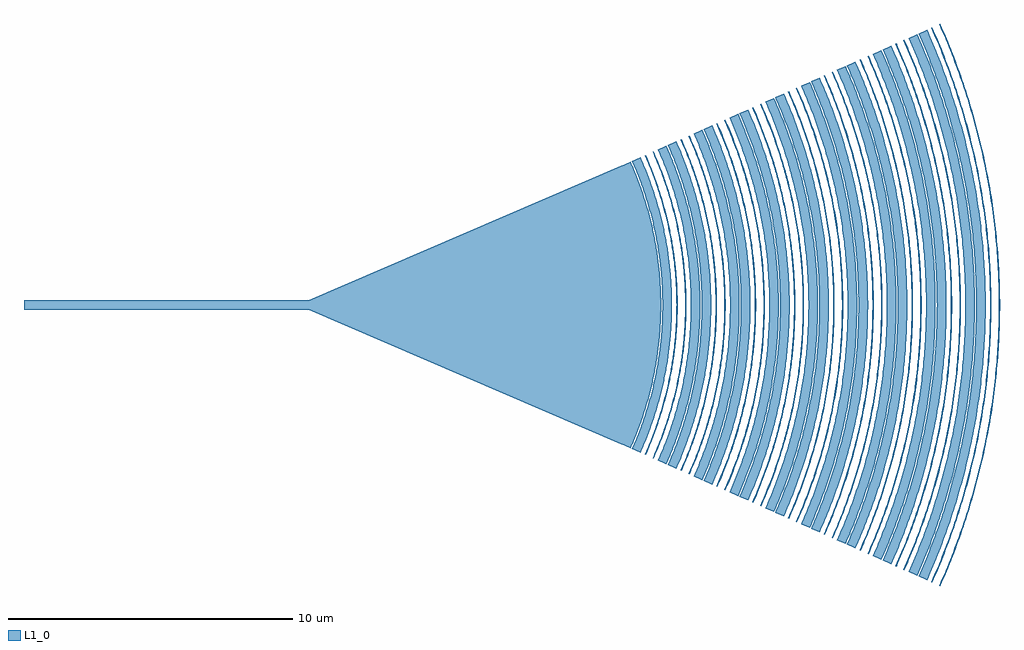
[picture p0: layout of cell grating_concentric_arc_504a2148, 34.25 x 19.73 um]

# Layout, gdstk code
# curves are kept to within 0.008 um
import gdstk
lib = gdstk.Library(unit=1e-6, precision=2e-09)
def R(c, l, rs):  # rectangles x0, y0, x1, y1
    for r in rs: c.add(gdstk.rectangle(r[:2], r[2:], *l))
def P(c, l, *ps):  # polygons
    for p in ps: c.add(gdstk.Polygon(p, *l))
L1_0 = (1, 0)

straight_3aa2beef = lib.new_cell('straight_3aa2beef')
R(straight_3aa2beef, L1_0, [(0,-0.174,10,0.174)])

ring_6953cfcb_transform_ = lib.new_cell('ring_6953cfcb_transform_6221d9ea')
P(ring_6953cfcb_transform_, L1_0, [(10.05,-4.474),(10.27,-3.942),(10.462,-3.4),(10.626,-2.848),(10.76,-2.288),(10.844,-1.848),(10.926,-1.278),(10.974,-0.768),(11,-0.128),(10.982,0.64),(10.94,1.15),(10.844,1.848),(10.76,2.288),(10.626,2.848),(10.462,3.4),(10.27,3.942),(10.05,4.474),(11.288,5.026),(11.484,4.562),(11.636,4.158),(11.878,3.406),(12.056,2.71),(12.13,2.358),(12.226,1.79),(12.316,1.006),(12.356,0.144),(12.336,-0.718),(12.31,-1.076),(12.246,-1.648),(12.116,-2.428),(12.024,-2.85),(11.898,-3.336),(11.636,-4.158),(11.484,-4.562),(11.288,-5.026)])

ring_9422eaae_transform_ = lib.new_cell('ring_9422eaae_transform_814ac0fe')
P(ring_9422eaae_transform_, L1_0, [(11.336,-5.046),(11.532,-4.582),(11.756,-3.972),(11.908,-3.49),(12.074,-2.862),(12.194,-2.296),(12.298,-1.656),(12.368,-1.01),(12.398,-0.506),(12.408,0.144),(12.368,1.01),(12.298,1.656),(12.194,2.296),(12.04,3.002),(11.824,3.766),(11.636,4.312),(11.336,5.046),(11.636,5.182),(11.866,4.634),(11.996,4.288),(12.16,3.796),(12.378,3.01),(12.518,2.358),(12.644,1.552),(12.708,0.888),(12.738,0.148),(12.728,-0.518),(12.684,-1.184),(12.644,-1.552),(12.558,-2.138),(12.412,-2.866),(12.204,-3.654),(11.996,-4.288),(11.838,-4.704),(11.636,-5.182)])

ring_9049fbea_transform_ = lib.new_cell('ring_9049fbea_transform_e01216b0')
P(ring_9049fbea_transform_, L1_0, [(11.782,-5.246),(11.93,-4.9),(12.068,-4.552),(12.266,-3.986),(12.356,-3.698),(12.458,-3.338),(12.55,-2.974),(12.616,-2.682),(12.702,-2.24),(12.75,-1.944),(12.792,-1.646),(12.842,-1.198),(12.884,-0.6),(12.898,0),(12.884,0.6),(12.842,1.198),(12.792,1.646),(12.75,1.944),(12.702,2.24),(12.616,2.682),(12.55,2.974),(12.458,3.338),(12.312,3.842),(12.17,4.27),(12.068,4.552),(11.93,4.9),(11.782,5.246),(11.818,5.262),(11.996,4.846),(12.132,4.496),(12.328,3.926),(12.416,3.638),(12.516,3.276),(12.606,2.91),(12.67,2.616),(12.728,2.32),(12.79,1.95),(12.832,1.652),(12.882,1.202),(12.924,0.602),(12.936,0.226),(12.938,-0.076),(12.93,-0.452),(12.916,-0.752),(12.882,-1.202),(12.85,-1.502),(12.812,-1.8),(12.754,-2.172),(12.7,-2.468),(12.606,-2.91),(12.516,-3.276),(12.416,-3.638),(12.328,-3.926),(12.208,-4.284),(12.024,-4.776),(11.85,-5.194),(11.818,-5.262)])

ring_10f3b8c3_transform_ = lib.new_cell('ring_10f3b8c3_transform_cc2e47a6')
P(ring_10f3b8c3_transform_, L1_0, [(12.062,-5.37),(12.184,-5.088),(12.298,-4.804),(12.508,-4.226),(12.604,-3.934),(12.692,-3.64),(12.754,-3.418),(12.882,-2.896),(12.946,-2.594),(13.016,-2.216),(13.064,-1.914),(13.114,-1.532),(13.16,-1.074),(13.176,-0.844),(13.198,-0.384),(13.202,-0.154),(13.2,0.308),(13.192,0.538),(13.166,0.998),(13.146,1.228),(13.114,1.532),(13.064,1.914),(13.016,2.216),(12.946,2.594),(12.848,3.044),(12.754,3.418),(12.604,3.934),(12.484,4.298),(12.354,4.66),(12.184,5.088),(12.062,5.37),(12.098,5.386),(12.25,5.032),(12.364,4.746),(12.522,4.312),(12.642,3.946),(12.812,3.354),(12.954,2.754),(13.068,2.148),(13.154,1.538),(13.2,1.078),(13.216,0.846),(13.238,0.386),(13.244,0),(13.238,-0.386),(13.216,-0.846),(13.2,-1.078),(13.154,-1.538),(13.068,-2.148),(13,-2.526),(12.938,-2.828),(12.85,-3.204),(12.752,-3.576),(12.642,-3.946),(12.522,-4.312),(12.308,-4.89),(12.13,-5.316),(12.098,-5.386)])

ring_108499d5_transform_ = lib.new_cell('ring_108499d5_transform_c5bb48a8')
P(ring_108499d5_transform_, L1_0, [(12.244,-5.452),(12.484,-4.876),(12.722,-4.216),(12.904,-3.62),(13.076,-2.938),(13.212,-2.25),(13.302,-1.634),(13.358,-1.09),(13.394,-0.468),(13.402,0.156),(13.388,0.624),(13.358,1.09),(13.272,1.866),(13.156,2.558),(12.966,3.394),(12.794,3.992),(12.54,4.73),(12.244,5.452),(12.544,5.586),(12.82,4.922),(13.108,4.092),(13.344,3.244),(13.48,2.62),(13.61,1.832),(13.68,1.196),(13.724,0.48),(13.724,-0.48),(13.68,-1.196),(13.576,-2.07),(13.51,-2.464),(13.398,-3.012),(13.156,-3.938),(12.876,-4.772),(12.544,-5.586)])

ring_e48c460f_transform_ = lib.new_cell('ring_e48c460f_transform_258c2d6b')
P(ring_e48c460f_transform_, L1_0, [(12.592,-5.606),(12.81,-5.09),(13.034,-4.488),(13.228,-3.876),(13.394,-3.256),(13.546,-2.552),(13.672,-1.76),(13.732,-1.202),(13.776,-0.482),(13.776,0.482),(13.732,1.202),(13.65,1.918),(13.516,2.708),(13.314,3.568),(13.11,4.26),(12.898,4.864),(12.592,5.606),(12.894,5.74),(13.206,4.982),(13.474,4.206),(13.634,3.652),(13.734,3.254),(13.886,2.532),(13.998,1.802),(14.046,1.394),(14.086,0.902),(14.114,0.164),(14.106,-0.492),(14.046,-1.394),(13.928,-2.288),(13.734,-3.254),(13.522,-4.048),(13.346,-4.596),(13.206,-4.982),(12.894,-5.74)])

ring_d2db16e5_transform_ = lib.new_cell('ring_d2db16e5_transform_b4624d32')
P(ring_d2db16e5_transform_, L1_0, [(13.038,-5.806),(13.234,-5.346),(13.384,-4.96),(13.6,-4.332),(13.674,-4.094),(13.808,-3.614),(13.962,-2.968),(14.042,-2.56),(14.098,-2.232),(14.146,-1.904),(14.186,-1.574),(14.212,-1.326),(14.244,-0.912),(14.262,-0.582),(14.272,-0.166),(14.27,0.332),(14.262,0.582),(14.244,0.912),(14.204,1.41),(14.146,1.904),(14.098,2.232),(14.042,2.56),(13.962,2.968),(13.808,3.614),(13.65,4.174),(13.496,4.646),(13.384,4.96),(13.234,5.346),(13.038,5.806),(13.076,5.822),(13.24,5.438),(13.422,4.974),(13.534,4.66),(13.664,4.264),(13.782,3.866),(13.868,3.544),(14.018,2.894),(14.096,2.486),(14.15,2.156),(14.186,1.91),(14.244,1.414),(14.294,0.75),(14.308,0.416),(14.314,0),(14.308,-0.416),(14.294,-0.75),(14.244,-1.414),(14.186,-1.91),(14.124,-2.322),(14.066,-2.65),(13.982,-3.058),(13.868,-3.544),(13.782,-3.866),(13.664,-4.264),(13.534,-4.66),(13.422,-4.974),(13.302,-5.284),(13.11,-5.746),(13.076,-5.822)])

ring_d92fad2c_transform_ = lib.new_cell('ring_d92fad2c_transform_edd6bd95')
P(ring_d92fad2c_transform_, L1_0, [(13.318,-5.93),(13.486,-5.54),(13.58,-5.304),(13.7,-4.986),(13.866,-4.506),(14.038,-3.936),(14.206,-3.28),(14.278,-2.948),(14.358,-2.532),(14.46,-1.86),(14.508,-1.44),(14.538,-1.102),(14.57,-0.508),(14.578,-0.17),(14.578,0.17),(14.57,0.508),(14.544,1.016),(14.508,1.44),(14.46,1.86),(14.4,2.28),(14.278,2.948),(14.206,3.28),(14.104,3.692),(13.942,4.262),(13.866,4.506),(13.7,4.986),(13.518,5.462),(13.318,5.93),(13.354,5.946),(13.49,5.634),(13.618,5.318),(13.738,5),(13.904,4.518),(14.076,3.948),(14.164,3.62),(14.3,3.04),(14.426,2.37),(14.5,1.866),(14.548,1.444),(14.578,1.104),(14.604,0.68),(14.618,0.17),(14.618,-0.17),(14.604,-0.68),(14.584,-1.02),(14.548,-1.444),(14.52,-1.698),(14.412,-2.454),(14.334,-2.872),(14.264,-3.206),(14.164,-3.62),(14.076,-3.948),(13.93,-4.436),(13.822,-4.76),(13.618,-5.318),(13.424,-5.79),(13.354,-5.946)])

ring_c6a823f2_transform_ = lib.new_cell('ring_c6a823f2_transform_b9f9d562')
P(ring_c6a823f2_transform_, L1_0, [(13.5,-6.01),(13.766,-5.376),(14.028,-4.648),(14.206,-4.074),(14.4,-3.324),(14.554,-2.566),(14.646,-1.972),(14.722,-1.288),(14.772,-0.43),(14.772,0.43),(14.722,1.288),(14.61,2.226),(14.49,2.904),(14.296,3.742),(14.182,4.156),(14.028,4.648),(13.766,5.376),(13.5,6.01),(13.802,6.144),(14.136,5.332),(14.396,4.584),(14.616,3.826),(14.814,2.968),(14.936,2.276),(14.996,1.842),(15.058,1.23),(15.102,0.44),(15.102,-0.44),(15.088,-0.79),(15.034,-1.492),(14.922,-2.364),(14.76,-3.226),(14.616,-3.826),(14.474,-4.332),(14.314,-4.836),(14.136,-5.332),(13.802,-6.144)])

ring_ff4eb2f2_transform_ = lib.new_cell('ring_ff4eb2f2_transform_92466b3c')
P(ring_ff4eb2f2_transform_, L1_0, [(13.85,-6.166),(14.122,-5.516),(14.334,-4.936),(14.524,-4.348),(14.772,-3.41),(14.93,-2.632),(15.036,-1.936),(15.11,-1.234),(15.154,-0.44),(15.154,0.44),(15.11,1.234),(15,2.198),(14.882,2.892),(14.71,3.668),(14.472,4.516),(14.216,5.268),(13.85,6.166),(14.15,6.3),(14.462,5.552),(14.76,4.7),(14.986,3.922),(15.206,2.956),(15.364,1.978),(15.446,1.17),(15.484,0.45),(15.484,-0.45),(15.464,-0.9),(15.406,-1.62),(15.314,-2.334),(15.152,-3.22),(15.052,-3.66),(14.89,-4.27),(14.76,-4.7),(14.556,-5.298),(14.294,-5.97),(14.15,-6.3)])

ring_7f2c7f43_transform_ = lib.new_cell('ring_7f2c7f43_transform_a85783c4')
P(ring_7f2c7f43_transform_, L1_0, [(14.296,-6.364),(14.544,-5.778),(14.706,-5.352),(14.826,-5.008),(14.966,-4.576),(15.068,-4.226),(15.206,-3.698),(15.288,-3.342),(15.362,-2.986),(15.442,-2.538),(15.484,-2.268),(15.554,-1.726),(15.59,-1.364),(15.628,-0.818),(15.648,-0.182),(15.648,0.182),(15.64,0.546),(15.628,0.818),(15.582,1.454),(15.554,1.726),(15.484,2.268),(15.412,2.718),(15.344,3.076),(15.248,3.52),(15.162,3.874),(15.068,4.226),(14.966,4.576),(14.826,5.008),(14.674,5.438),(14.51,5.862),(14.296,6.364),(14.332,6.382),(14.478,6.046),(14.68,5.538),(14.922,4.848),(15.082,4.324),(15.178,3.972),(15.266,3.618),(15.346,3.262),(15.418,2.904),(15.524,2.274),(15.612,1.55),(15.668,0.822),(15.688,0.182),(15.688,-0.182),(15.668,-0.822),(15.63,-1.368),(15.594,-1.73),(15.524,-2.274),(15.482,-2.544),(15.418,-2.904),(15.308,-3.44),(15.178,-3.972),(15.082,-4.324),(14.864,-5.022),(14.68,-5.538),(14.478,-6.046),(14.332,-6.382)])

ring_7084ca4e_transform_ = lib.new_cell('ring_7084ca4e_transform_089f98cb')
P(ring_7084ca4e_transform_, L1_0, [(14.576,-6.49),(14.862,-5.804),(15.024,-5.37),(15.174,-4.93),(15.284,-4.576),(15.41,-4.13),(15.524,-3.68),(15.606,-3.318),(15.662,-3.044),(15.744,-2.588),(15.8,-2.22),(15.858,-1.76),(15.902,-1.298),(15.928,-0.928),(15.942,-0.65),(15.954,-0.186),(15.954,0.186),(15.942,0.65),(15.916,1.112),(15.886,1.482),(15.858,1.76),(15.8,2.22),(15.744,2.588),(15.644,3.136),(15.546,3.588),(15.458,3.95),(15.362,4.308),(15.258,4.664),(15.086,5.194),(14.928,5.63),(14.758,6.062),(14.576,6.49),(14.612,6.506),(14.76,6.164),(14.966,5.646),(15.124,5.208),(15.212,4.942),(15.35,4.498),(15.426,4.23),(15.542,3.78),(15.646,3.326),(15.736,2.87),(15.798,2.502),(15.84,2.226),(15.908,1.672),(15.942,1.302),(15.978,0.744),(15.994,0.186),(15.994,-0.186),(15.982,-0.652),(15.968,-0.93),(15.942,-1.302),(15.898,-1.764),(15.84,-2.226),(15.768,-2.686),(15.736,-2.87),(15.606,-3.508),(15.52,-3.87),(15.376,-4.408),(15.268,-4.766),(15.124,-5.208),(14.966,-5.646),(14.724,-6.25),(14.612,-6.506)])

ring_89918972_transform_ = lib.new_cell('ring_89918972_transform_edba0638')
P(ring_89918972_transform_, L1_0, [(14.758,-6.57),(15.114,-5.702),(15.334,-5.082),(15.554,-4.362),(15.74,-3.634),(15.892,-2.898),(16.034,-1.968),(16.108,-1.22),(16.15,-0.376),(16.144,0.564),(16.084,1.502),(15.984,2.342),(15.82,3.266),(15.628,4.09),(15.392,4.902),(15.148,5.614),(14.978,6.052),(14.758,6.57),(15.058,6.704),(15.388,5.908),(15.554,5.458),(15.736,4.91),(15.946,4.174),(16.144,3.334),(16.296,2.484),(16.404,1.628),(16.444,1.15),(16.474,0.576),(16.48,-0.384),(16.462,-0.862),(16.404,-1.628),(16.296,-2.484),(16.124,-3.428),(15.872,-4.452),(15.736,-4.91),(15.49,-5.638),(15.248,-6.264),(15.058,-6.704)])

ring_e80e56b2_transform_ = lib.new_cell('ring_e80e56b2_transform_6378aeb5')
P(ring_e80e56b2_transform_, L1_0, [(15.106,-6.726),(15.438,-5.926),(15.696,-5.202),(15.922,-4.466),(16.134,-3.626),(16.284,-2.872),(16.424,-1.92),(16.496,-1.154),(16.532,-0.384),(16.526,0.578),(16.464,1.536),(16.362,2.396),(16.214,3.25),(16.022,4.094),(15.756,5.018),(15.438,5.926),(15.106,6.726),(15.408,6.86),(15.746,6.044),(16.01,5.306),(16.292,4.366),(16.518,3.41),(16.674,2.542),(16.752,1.958),(16.802,1.47),(16.856,0.588),(16.862,-0.392),(16.838,-0.98),(16.802,-1.47),(16.752,-1.958),(16.674,-2.542),(16.498,-3.506),(16.412,-3.89),(16.24,-4.554),(16.1,-5.024),(15.882,-5.676),(15.638,-6.318),(15.408,-6.86)])

ring_321dfc1c_transform_ = lib.new_cell('ring_321dfc1c_transform_615f536a')
P(ring_321dfc1c_transform_, L1_0, [(15.552,-6.924),(15.748,-6.47),(15.894,-6.102),(16.032,-5.73),(16.192,-5.26),(16.392,-4.598),(16.566,-3.926),(16.632,-3.636),(16.712,-3.248),(16.8,-2.762),(16.91,-1.976),(16.942,-1.682),(16.984,-1.188),(17.002,-0.892),(17.024,-0.198),(17.018,0.496),(17.002,0.892),(16.96,1.484),(16.886,2.174),(16.816,2.664),(16.712,3.248),(16.566,3.926),(16.47,4.31),(16.31,4.882),(16.13,5.448),(15.93,6.008),(15.748,6.47),(15.552,6.924),(15.59,6.94),(15.67,6.76),(15.932,6.116),(16.07,5.744),(16.23,5.274),(16.32,4.99),(16.484,4.416),(16.582,4.032),(16.692,3.548),(16.806,2.964),(16.87,2.572),(16.926,2.178),(16.982,1.684),(17.024,1.19),(17.042,0.894),(17.06,0.398),(17.064,-0.198),(17.042,-0.894),(17.024,-1.19),(16.982,-1.684),(16.95,-1.982),(16.87,-2.572),(16.806,-2.964),(16.752,-3.256),(16.65,-3.742),(16.534,-4.224),(16.404,-4.704),(16.32,-4.99),(16.136,-5.556),(15.932,-6.116),(15.67,-6.76),(15.59,-6.94)])

ring_e9e801ea_transform_ = lib.new_cell('ring_e9e801ea_transform_d64e931f')
P(ring_e9e801ea_transform_, L1_0, [(15.832,-7.048),(16.03,-6.586),(16.216,-6.116),(16.354,-5.738),(16.514,-5.26),(16.66,-4.776),(16.766,-4.388),(16.864,-3.996),(16.952,-3.604),(17.05,-3.108),(17.118,-2.712),(17.214,-2.012),(17.256,-1.61),(17.302,-1.008),(17.324,-0.504),(17.33,-0.202),(17.33,0.202),(17.312,0.806),(17.302,1.008),(17.256,1.61),(17.214,2.012),(17.148,2.512),(17.068,3.01),(16.992,3.406),(16.952,3.604),(16.816,4.192),(16.66,4.776),(16.544,5.164),(16.354,5.738),(16.216,6.116),(16.03,6.586),(15.832,7.048),(15.868,7.066),(16.068,6.6),(16.216,6.226),(16.358,5.846),(16.552,5.272),(16.67,4.886),(16.83,4.3),(16.926,3.908),(17.012,3.512),(17.124,2.916),(17.188,2.518),(17.254,2.016),(17.296,1.614),(17.328,1.212),(17.352,0.808),(17.37,0.202),(17.37,-0.202),(17.364,-0.506),(17.342,-1.01),(17.296,-1.614),(17.254,-2.016),(17.188,-2.518),(17.124,-2.916),(17.052,-3.314),(16.926,-3.908),(16.83,-4.3),(16.67,-4.886),(16.552,-5.272),(16.358,-5.846),(16.144,-6.414),(15.91,-6.972),(15.868,-7.066)])

ring_fa41a8f5_transform_ = lib.new_cell('ring_fa41a8f5_transform_02f88ba3')
P(ring_fa41a8f5_transform_, L1_0, [(16.014,-7.13),(16.366,-6.282),(16.608,-5.61),(16.906,-4.636),(17.08,-3.944),(17.264,-3.044),(17.386,-2.238),(17.472,-1.426),(17.522,-0.51),(17.522,0.51),(17.472,1.426),(17.386,2.238),(17.298,2.842),(17.208,3.344),(17.034,4.142),(16.906,4.636),(16.734,5.222),(16.438,6.092),(16.254,6.566),(16.014,7.13),(16.316,7.264),(16.674,6.4),(17.018,5.42),(17.304,4.422),(17.512,3.51),(17.686,2.486),(17.792,1.556),(17.852,0.52),(17.852,-0.52),(17.792,-1.556),(17.714,-2.28),(17.656,-2.692),(17.47,-3.714),(17.224,-4.722),(17.018,-5.42),(16.818,-6.01),(16.598,-6.594),(16.316,-7.264)])

ring_5dd9466e_transform_ = lib.new_cell('ring_5dd9466e_transform_71c2ce95')
P(ring_5dd9466e_transform_, L1_0, [(16.364,-7.286),(16.646,-6.614),(16.97,-5.732),(17.218,-4.938),(17.476,-3.928),(17.622,-3.212),(17.766,-2.286),(17.844,-1.562),(17.888,-0.938),(17.904,-0.52),(17.904,0.52),(17.888,0.938),(17.844,1.562),(17.766,2.286),(17.708,2.7),(17.542,3.622),(17.302,4.636),(17.066,5.436),(16.796,6.224),(16.608,6.71),(16.364,7.286),(16.664,7.42),(17.03,6.538),(17.382,5.536),(17.648,4.618),(17.886,3.584),(18.064,2.538),(18.182,1.484),(18.234,0.53),(18.234,-0.53),(18.182,-1.484),(18.106,-2.224),(18.034,-2.748),(17.946,-3.272),(17.798,-4),(17.564,-4.926),(17.382,-5.536),(17.178,-6.14),(16.914,-6.834),(16.664,-7.42)])

ring_66498925_transform_ = lib.new_cell('ring_66498925_transform_d37520c2')
P(ring_66498925_transform_, L1_0, [(16.81,-7.484),(16.98,-7.09),(17.14,-6.694),(17.328,-6.192),(17.5,-5.686),(17.628,-5.278),(17.746,-4.866),(17.88,-4.348),(17.976,-3.93),(18.042,-3.616),(18.14,-3.09),(18.222,-2.56),(18.264,-2.242),(18.3,-1.924),(18.356,-1.284),(18.386,-0.75),(18.4,-0.214),(18.4,0.214),(18.39,0.642),(18.37,1.07),(18.34,1.498),(18.3,1.924),(18.222,2.56),(18.14,3.09),(18.042,3.616),(17.88,4.348),(17.746,4.866),(17.628,5.278),(17.432,5.89),(17.254,6.394),(17.02,6.992),(16.81,7.484),(16.846,7.5),(17.058,7.008),(17.292,6.408),(17.436,6.004),(17.604,5.494),(17.756,4.98),(17.84,4.67),(17.944,4.252),(18.082,3.624),(18.142,3.308),(18.262,2.566),(18.304,2.248),(18.37,1.608),(18.41,1.072),(18.426,0.75),(18.44,0.214),(18.44,-0.214),(18.426,-0.75),(18.396,-1.286),(18.34,-1.928),(18.304,-2.248),(18.214,-2.884),(18.142,-3.308),(18.016,-3.938),(17.918,-4.358),(17.756,-4.98),(17.604,-5.494),(17.436,-6.004),(17.292,-6.408),(17.058,-7.008),(16.846,-7.5)])

ring_fd512b4f_transform_ = lib.new_cell('ring_fd512b4f_transform_8854f068')
P(ring_fd512b4f_transform_, L1_0, [(17.09,-7.608),(17.304,-7.108),(17.464,-6.704),(17.616,-6.296),(17.824,-5.676),(17.952,-5.26),(18.068,-4.842),(18.202,-4.314),(18.298,-3.89),(18.384,-3.462),(18.476,-2.926),(18.54,-2.496),(18.604,-1.956),(18.636,-1.63),(18.68,-0.98),(18.702,-0.436),(18.706,-0.108),(18.702,0.436),(18.686,0.87),(18.668,1.196),(18.626,1.738),(18.54,2.496),(18.44,3.142),(18.342,3.676),(18.202,4.314),(18.124,4.63),(18.012,5.052),(17.856,5.574),(17.688,6.09),(17.464,6.704),(17.304,7.108),(17.09,7.608),(17.126,7.624),(17.34,7.124),(17.502,6.718),(17.726,6.104),(17.896,5.586),(18.02,5.168),(18.136,4.746),(18.242,4.324),(18.36,3.79),(18.462,3.256),(18.516,2.932),(18.594,2.392),(18.666,1.742),(18.708,1.198),(18.726,0.872),(18.744,0.328),(18.746,-0.218),(18.726,-0.872),(18.708,-1.198),(18.676,-1.634),(18.62,-2.176),(18.564,-2.608),(18.462,-3.256),(18.314,-4.004),(18.242,-4.324),(18.08,-4.958),(17.896,-5.586),(17.726,-6.104),(17.502,-6.718),(17.214,-7.426),(17.126,-7.624)])

ring_4e32d0f4_transform_ = lib.new_cell('ring_4e32d0f4_transform_96d36480')
P(ring_4e32d0f4_transform_, L1_0, [(17.27,-7.69),(17.65,-6.776),(17.946,-5.946),(18.112,-5.422),(18.262,-4.894),(18.446,-4.146),(18.656,-3.066),(18.778,-2.194),(18.852,-1.428),(18.898,-0.55),(18.898,0.55),(18.86,1.318),(18.778,2.194),(18.656,3.066),(18.446,4.146),(18.262,4.894),(18.112,5.422),(17.946,5.946),(17.728,6.57),(17.488,7.184),(17.27,7.69),(17.572,7.824),(17.958,6.894),(18.114,6.474),(18.328,5.838),(18.49,5.302),(18.664,4.654),(18.882,3.67),(19.064,2.566),(19.172,1.564),(19.228,0.56),(19.228,-0.56),(19.196,-1.23),(19.142,-1.9),(19.016,-2.898),(18.838,-3.89),(18.58,-4.978),(18.362,-5.73),(18.114,-6.474),(17.918,-6.998),(17.572,-7.824)])

ring_c16440bc_transform_ = lib.new_cell('ring_c16440bc_transform_3e68f9c9')
P(ring_c16440bc_transform_, L1_0, [(17.62,-7.844),(18.046,-6.808),(18.344,-5.96),(18.63,-4.992),(18.794,-4.338),(18.934,-3.68),(19.116,-2.574),(19.224,-1.57),(19.28,-0.56),(19.288,0.112),(19.276,0.674),(19.248,1.234),(19.158,2.24),(19.068,2.906),(18.934,3.68),(18.818,4.23),(18.688,4.774),(18.51,5.424),(18.344,5.96),(18.086,6.702),(17.84,7.33),(17.62,7.844),(17.922,7.98),(18.356,6.924),(18.658,6.062),(18.858,5.408),(18.978,4.968),(19.14,4.302),(19.234,3.856),(19.358,3.182),(19.442,2.618),(19.522,1.938),(19.562,1.482),(19.61,0.57),(19.61,-0.57),(19.578,-1.254),(19.522,-1.938),(19.394,-2.956),(19.212,-3.966),(19.062,-4.636),(18.92,-5.188),(18.658,-6.062),(18.474,-6.602),(18.232,-7.242),(17.922,-7.98)])

ring_cf99d2fc_transform_ = lib.new_cell('ring_cf99d2fc_transform_d0d0eaf5')
P(ring_cf99d2fc_transform_, L1_0, [(18.066,-8.044),(18.38,-7.302),(18.584,-6.764),(18.736,-6.33),(18.844,-6.002),(19.042,-5.34),(19.132,-5.008),(19.296,-4.336),(19.368,-4),(19.496,-3.32),(19.568,-2.866),(19.656,-2.182),(19.702,-1.724),(19.75,-1.036),(19.768,-0.576),(19.776,-0.116),(19.774,0.346),(19.75,1.036),(19.72,1.494),(19.68,1.952),(19.656,2.182),(19.568,2.866),(19.456,3.548),(19.368,4),(19.244,4.56),(19.132,5.008),(19.01,5.452),(18.844,6.002),(18.662,6.548),(18.504,6.98),(18.38,7.302),(18.066,8.044),(18.104,8.06),(18.374,7.424),(18.542,6.994),(18.736,6.452),(18.882,6.014),(18.984,5.684),(19.142,5.128),(19.256,4.682),(19.408,4.008),(19.516,3.442),(19.608,2.872),(19.696,2.186),(19.742,1.728),(19.776,1.268),(19.8,0.806),(19.816,0.23),(19.816,-0.23),(19.8,-0.806),(19.776,-1.268),(19.742,-1.728),(19.696,-2.186),(19.64,-2.644),(19.536,-3.328),(19.452,-3.782),(19.36,-4.232),(19.256,-4.682),(19.112,-5.24),(18.984,-5.684),(18.774,-6.342),(18.542,-6.994),(18.374,-7.424),(18.242,-7.742),(18.104,-8.06)])

ring_c75a938b_transform_ = lib.new_cell('ring_c75a938b_transform_d5d8ba9d')
P(ring_c75a938b_transform_, L1_0, [(18.346,-8.168),(18.532,-7.74),(18.79,-7.088),(18.95,-6.648),(19.1,-6.206),(19.272,-5.648),(19.368,-5.31),(19.514,-4.744),(19.644,-4.176),(19.736,-3.718),(19.816,-3.256),(19.902,-2.68),(19.96,-2.216),(20.016,-1.634),(20.048,-1.168),(20.074,-0.584),(20.082,-0.116),(20.08,0.35),(20.066,0.818),(20.034,1.4),(19.996,1.866),(19.96,2.216),(19.87,2.91),(19.778,3.488),(19.668,4.06),(19.568,4.518),(19.428,5.084),(19.272,5.648),(19.17,5.984),(19.026,6.428),(18.79,7.088),(18.532,7.74),(18.346,8.168),(18.382,8.184),(18.568,7.754),(18.786,7.212),(18.988,6.662),(19.138,6.218),(19.31,5.658),(19.496,4.982),(19.58,4.64),(19.706,4.07),(19.796,3.61),(19.91,2.916),(20,2.22),(20.036,1.87),(20.082,1.286),(20.106,0.82),(20.12,0.352),(20.122,-0.118),(20.106,-0.82),(20.082,-1.286),(20.036,-1.87),(20,-2.22),(19.958,-2.568),(19.856,-3.264),(19.752,-3.84),(19.658,-4.298),(19.496,-4.982),(19.406,-5.322),(19.208,-5.996),(19.064,-6.44),(18.828,-7.102),(18.568,-7.754),(18.382,-8.184)])

ring_8dae4848_transform_ = lib.new_cell('ring_8dae4848_transform_5c84af6c')
P(ring_8dae4848_transform_, L1_0, [(18.528,-8.25),(18.892,-7.378),(19.252,-6.38),(19.56,-5.364),(19.788,-4.448),(19.974,-3.522),(20.116,-2.588),(20.224,-1.532),(20.276,-0.472),(20.276,0.472),(20.224,1.532),(20.116,2.588),(19.994,3.406),(19.886,3.986),(19.762,4.562),(19.56,5.364),(19.43,5.816),(19.252,6.38),(19.018,7.048),(18.76,7.706),(18.528,8.25),(18.83,8.384),(19.242,7.386),(19.64,6.256),(19.846,5.566),(19.97,5.102),(20.21,4.05),(20.394,2.988),(20.522,1.916),(20.594,0.84),(20.61,0.24),(20.606,-0.48),(20.576,-1.198),(20.522,-1.916),(20.394,-2.988),(20.298,-3.58),(20.186,-4.168),(20.056,-4.754),(19.878,-5.45),(19.64,-6.256),(19.368,-7.05),(19.066,-7.832),(18.83,-8.384)])

ring_68513522_transform_ = lib.new_cell('ring_68513522_transform_51232a1e')
P(ring_68513522_transform_, L1_0, [(18.876,-8.404),(19.204,-7.63),(19.538,-6.728),(19.83,-5.812),(19.96,-5.348),(20.134,-4.648),(20.35,-3.588),(20.51,-2.518),(20.604,-1.562),(20.658,-0.48),(20.658,0.48),(20.604,1.562),(20.51,2.518),(20.39,3.352),(20.284,3.942),(20.134,4.648),(19.96,5.348),(19.796,5.926),(19.418,7.068),(19.114,7.852),(18.876,8.404),(19.178,8.538),(19.372,8.09),(19.642,7.41),(20.004,6.372),(20.31,5.316),(20.56,4.246),(20.696,3.526),(20.772,3.042),(20.852,2.438),(20.914,1.83),(20.958,1.22),(20.988,0.488),(20.988,-0.488),(20.934,-1.586),(20.866,-2.316),(20.806,-2.8),(20.696,-3.526),(20.608,-4.006),(20.456,-4.722),(20.31,-5.316),(20.076,-6.138),(19.81,-6.95),(19.51,-7.75),(19.178,-8.538)])

ring_146a01e3_transform_ = lib.new_cell('ring_146a01e3_transform_ff34ed85')
P(ring_146a01e3_transform_, L1_0, [(19.324,-8.604),(19.566,-8.038),(19.792,-7.466),(20.04,-6.77),(20.192,-6.302),(20.4,-5.594),(20.494,-5.236),(20.638,-4.638),(20.716,-4.278),(20.81,-3.794),(20.892,-3.308),(20.964,-2.822),(21.024,-2.334),(21.072,-1.844),(21.124,-1.108),(21.144,-0.616),(21.152,-0.124),(21.144,0.616),(21.124,1.108),(21.072,1.844),(21.024,2.334),(20.964,2.822),(20.892,3.308),(20.81,3.794),(20.716,4.278),(20.638,4.638),(20.494,5.236),(20.4,5.594),(20.192,6.302),(20.04,6.77),(19.792,7.466),(19.566,8.038),(19.324,8.604),(19.36,8.62),(19.556,8.166),(19.74,7.71),(19.998,7.016),(20.156,6.548),(20.372,5.842),(20.502,5.366),(20.622,4.888),(20.73,4.406),(20.826,3.922),(20.932,3.316),(21.018,2.706),(21.076,2.216),(21.132,1.602),(21.164,1.11),(21.19,0.37),(21.192,-0.124),(21.184,-0.616),(21.164,-1.11),(21.132,-1.602),(21.076,-2.216),(21.018,-2.706),(20.932,-3.316),(20.826,-3.922),(20.704,-4.526),(20.622,-4.888),(20.502,-5.366),(20.372,-5.842),(20.23,-6.314),(20.078,-6.782),(19.872,-7.364),(19.74,-7.71),(19.556,-8.166),(19.36,-8.62)])

ring_ec5ba4e5_transform_ = lib.new_cell('ring_ec5ba4e5_transform_aad38ff0')
P(ring_ec5ba4e5_transform_, L1_0, [(19.602,-8.728),(19.704,-8.5),(19.896,-8.038),(20.078,-7.574),(20.248,-7.104),(20.408,-6.63),(20.592,-6.034),(20.694,-5.674),(20.88,-4.948),(20.99,-4.462),(21.088,-3.972),(21.194,-3.356),(21.298,-2.616),(21.354,-2.118),(21.422,-1.248),(21.452,-0.5),(21.458,-0.124),(21.452,0.5),(21.44,0.874),(21.406,1.496),(21.354,2.118),(21.298,2.616),(21.194,3.356),(21.088,3.972),(20.99,4.462),(20.88,4.948),(20.79,5.312),(20.694,5.674),(20.484,6.392),(20.33,6.868),(20.078,7.574),(19.896,8.038),(19.704,8.5),(19.602,8.728),(19.64,8.744),(19.79,8.4),(20.026,7.82),(20.244,7.236),(20.446,6.644),(20.666,5.926),(20.798,5.444),(20.948,4.836),(21.054,4.348),(21.172,3.734),(21.272,3.116),(21.338,2.62),(21.394,2.122),(21.446,1.5),(21.48,0.876),(21.492,0.5),(21.498,-0.126),(21.48,-0.876),(21.462,-1.25),(21.394,-2.122),(21.338,-2.62),(21.234,-3.364),(21.104,-4.102),(21.002,-4.592),(20.89,-5.08),(20.7,-5.806),(20.522,-6.404),(20.368,-6.88),(20.114,-7.588),(19.886,-8.17),(19.64,-8.744)])

ring_49f4c272_transform_ = lib.new_cell('ring_49f4c272_transform_65fb3e10')
P(ring_49f4c272_transform_, L1_0, [(19.784,-8.808),(20.174,-7.878),(20.394,-7.288),(20.598,-6.692),(20.92,-5.606),(21.158,-4.626),(21.35,-3.636),(21.496,-2.64),(21.596,-1.636),(21.652,-0.504),(21.652,0.504),(21.596,1.636),(21.496,2.64),(21.35,3.636),(21.21,4.38),(21.074,4.994),(20.92,5.606),(20.748,6.212),(20.518,6.932),(20.308,7.526),(20.032,8.23),(19.784,8.808),(20.086,8.942),(20.338,8.354),(20.572,7.76),(20.748,7.28),(20.95,6.672),(21.136,6.06),(21.302,5.444),(21.424,4.946),(21.558,4.32),(21.736,3.314),(21.824,2.68),(21.904,1.916),(21.974,0.768),(21.986,0.256),(21.982,-0.512),(21.95,-1.278),(21.904,-1.916),(21.824,-2.68),(21.736,-3.314),(21.608,-4.07),(21.506,-4.572),(21.238,-5.69),(21.064,-6.306),(20.748,-7.28),(20.434,-8.118),(20.086,-8.942)])

ring_e0d085d4_transform_ = lib.new_cell('ring_e0d085d4_transform_a20280e1')
P(ring_e0d085d4_transform_, L1_0, [(20.134,-8.964),(20.576,-7.898),(20.88,-7.054),(21.186,-6.074),(21.354,-5.456),(21.474,-4.958),(21.682,-3.954),(21.788,-3.32),(21.858,-2.814),(21.932,-2.176),(21.986,-1.538),(22.034,-0.512),(22.034,0.512),(21.986,1.538),(21.89,2.558),(21.748,3.574),(21.61,4.332),(21.446,5.082),(21.288,5.704),(21.114,6.32),(20.88,7.054),(20.666,7.658),(20.386,8.374),(20.134,8.964),(20.436,9.098),(20.884,8.016),(21.108,7.406),(21.354,6.664),(21.538,6.04),(21.736,5.286),(21.958,4.268),(22.152,3.114),(22.284,1.95),(22.356,0.78),(22.37,0),(22.364,-0.52),(22.306,-1.69),(22.232,-2.468),(22.152,-3.114),(21.958,-4.268),(21.796,-5.032),(21.64,-5.664),(21.43,-6.416),(21.108,-7.406),(20.74,-8.38),(20.436,-9.098)])

ring_7efba266_transform_ = lib.new_cell('ring_7efba266_transform_a758fd16')
P(ring_7efba266_transform_, L1_0, [(20.58,-9.162),(20.788,-8.682),(21.032,-8.074),(21.258,-7.458),(21.426,-6.962),(21.582,-6.462),(21.726,-5.958),(21.89,-5.322),(22.036,-4.684),(22.114,-4.298),(22.23,-3.654),(22.29,-3.266),(22.376,-2.616),(22.454,-1.832),(22.498,-1.18),(22.522,-0.524),(22.528,-0.132),(22.522,0.524),(22.498,1.18),(22.474,1.572),(22.418,2.224),(22.344,2.876),(22.23,3.654),(22.114,4.298),(22.036,4.684),(21.92,5.196),(21.794,5.704),(21.656,6.21),(21.466,6.836),(21.258,7.458),(21.032,8.074),(20.788,8.682),(20.58,9.162),(20.618,9.18),(20.826,8.698),(21.07,8.088),(21.296,7.472),(21.464,6.974),(21.658,6.346),(21.8,5.842),(21.93,5.332),(22.102,4.564),(22.226,3.918),(22.33,3.27),(22.416,2.62),(22.458,2.228),(22.504,1.706),(22.538,1.182),(22.562,0.526),(22.568,-0.132),(22.55,-0.918),(22.522,-1.444),(22.494,-1.836),(22.416,-2.62),(22.33,-3.27),(22.27,-3.66),(22.154,-4.306),(22.048,-4.82),(21.93,-5.332),(21.73,-6.094),(21.544,-6.724),(21.38,-7.224),(21.252,-7.596),(21.07,-8.088),(20.826,-8.698),(20.618,-9.18)])

ring_c6a7e577_transform_ = lib.new_cell('ring_c6a7e577_transform_97be9de6')
P(ring_c6a7e577_transform_, L1_0, [(20.86,-9.288),(21.172,-8.554),(21.318,-8.182),(21.546,-7.56),(21.716,-7.056),(21.95,-6.294),(22.056,-5.91),(22.188,-5.396),(22.306,-4.878),(22.44,-4.226),(22.532,-3.704),(22.612,-3.178),(22.68,-2.65),(22.758,-1.858),(22.788,-1.46),(22.82,-0.796),(22.834,-0.132),(22.828,0.532),(22.81,1.062),(22.788,1.46),(22.722,2.254),(22.648,2.914),(22.574,3.44),(22.464,4.096),(22.362,4.618),(22.278,5.006),(22.124,5.652),(21.986,6.166),(21.836,6.676),(21.59,7.434),(21.318,8.182),(21.172,8.554),(20.86,9.288),(20.896,9.304),(21.108,8.814),(21.354,8.198),(21.628,7.448),(21.796,6.942),(21.988,6.304),(22.128,5.792),(22.258,5.276),(22.402,4.626),(22.55,3.84),(22.632,3.316),(22.704,2.788),(22.762,2.258),(22.828,1.462),(22.85,1.064),(22.868,0.532),(22.874,-0.134),(22.86,-0.798),(22.828,-1.462),(22.786,-1.994),(22.72,-2.656),(22.652,-3.184),(22.55,-3.84),(22.428,-4.496),(22.318,-5.016),(22.162,-5.662),(21.988,-6.304),(21.796,-6.942),(21.628,-7.448),(21.402,-8.072),(21.108,-8.814),(20.896,-9.304)])

ring_882cabd0_transform_ = lib.new_cell('ring_882cabd0_transform_7fef9b01')
P(ring_882cabd0_transform_, L1_0, [(21.042,-9.368),(21.454,-8.38),(21.69,-7.752),(21.906,-7.118),(22.104,-6.478),(22.248,-5.962),(22.502,-4.92),(22.706,-3.868),(22.878,-2.674),(22.946,-2.008),(22.986,-1.472),(23.03,-0.402),(23.024,0.67),(23.002,1.206),(22.946,2.008),(22.862,2.806),(22.706,3.868),(22.584,4.526),(22.412,5.312),(22.248,5.962),(22.066,6.606),(21.822,7.372),(21.598,8.004),(21.306,8.752),(21.042,9.368),(21.342,9.502),(21.558,9.004),(21.812,8.372),(22.22,7.22),(22.382,6.7),(22.602,5.916),(22.734,5.388),(22.908,4.592),(23.032,3.922),(23.136,3.252),(23.262,2.172),(23.344,0.952),(23.362,0.272),(23.36,-0.408),(23.338,-1.086),(23.286,-1.9),(23.22,-2.578),(23.136,-3.252),(23.032,-3.922),(22.908,-4.592),(22.734,-5.388),(22.602,-5.916),(22.382,-6.7),(22.046,-7.734),(21.662,-8.752),(21.342,-9.502)])

ring_49a5cea8_transform_ = lib.new_cell('ring_49a5cea8_transform_26b22f11')
P(ring_49a5cea8_transform_, L1_0, [(21.39,-9.524),(21.86,-8.392),(22.184,-7.494),(22.546,-6.322),(22.846,-5.134),(23.06,-4.066),(23.224,-2.988),(23.314,-2.176),(23.368,-1.498),(23.412,-0.408),(23.406,0.682),(23.338,1.906),(23.224,2.988),(23.06,4.066),(22.932,4.734),(22.784,5.4),(22.618,6.06),(22.432,6.716),(22.184,7.494),(21.956,8.136),(21.71,8.772),(21.39,9.524),(21.692,9.658),(22.168,8.51),(22.406,7.862),(22.626,7.206),(22.972,6.012),(23.168,5.206),(23.282,4.666),(23.408,3.988),(23.494,3.442),(23.568,2.894),(23.642,2.208),(23.688,1.656),(23.726,0.966),(23.744,0.276),(23.742,-0.414),(23.72,-1.104),(23.678,-1.794),(23.6,-2.62),(23.514,-3.304),(23.408,-3.988),(23.282,-4.666),(23.168,-5.206),(22.972,-6.012),(22.708,-6.942),(22.406,-7.862),(22.068,-8.766),(21.692,-9.658)])

ring_4e4042a5_transform_ = lib.new_cell('ring_4e4042a5_transform_d313c78a')
P(ring_4e4042a5_transform_, L1_0, [(21.838,-9.722),(22.164,-8.954),(22.366,-8.436),(22.556,-7.914),(22.734,-7.386),(22.94,-6.722),(23.09,-6.186),(23.228,-5.648),(23.382,-4.97),(23.516,-4.288),(23.61,-3.74),(23.726,-2.914),(23.788,-2.36),(23.836,-1.806),(23.872,-1.252),(23.894,-0.696),(23.904,-0.14),(23.898,0.556),(23.872,1.252),(23.836,1.806),(23.788,2.36),(23.726,2.914),(23.652,3.464),(23.588,3.876),(23.438,4.698),(23.292,5.378),(23.16,5.918),(23.016,6.456),(22.86,6.988),(22.602,7.782),(22.366,8.436),(22.164,8.954),(21.838,9.722),(21.874,9.738),(22.148,9.098),(22.404,8.45),(22.64,7.796),(22.772,7.4),(22.978,6.734),(23.128,6.198),(23.266,5.658),(23.45,4.842),(23.58,4.158),(23.692,3.47),(23.766,2.918),(23.84,2.226),(23.876,1.81),(23.912,1.254),(23.938,0.558),(23.944,-0.14),(23.93,-0.836),(23.904,-1.392),(23.876,-1.81),(23.798,-2.642),(23.73,-3.194),(23.65,-3.746),(23.53,-4.432),(23.392,-5.114),(23.266,-5.658),(23.092,-6.332),(22.898,-7),(22.64,-7.796),(22.404,-8.45),(22.094,-9.228),(21.874,-9.738)])

ring_79a09810_transform_ = lib.new_cell('ring_79a09810_transform_484eeb2d')
P(ring_79a09810_transform_, L1_0, [(22.116,-9.846),(22.286,-9.46),(22.602,-8.676),(22.798,-8.148),(23.068,-7.348),(23.272,-6.674),(23.456,-5.994),(23.59,-5.446),(23.71,-4.896),(23.842,-4.204),(23.934,-3.648),(23.994,-3.23),(24.078,-2.53),(24.13,-1.97),(24.184,-1.126),(24.204,-0.564),(24.21,-0.14),(24.204,0.564),(24.184,1.126),(24.13,1.97),(24.092,2.39),(24.03,2.95),(23.934,3.648),(23.842,4.204),(23.71,4.896),(23.59,5.446),(23.456,5.994),(23.272,6.674),(23.068,7.348),(22.798,8.148),(22.602,8.676),(22.394,9.2),(22.116,9.846),(22.154,9.864),(22.376,9.346),(22.64,8.69),(22.836,8.162),(23.106,7.36),(23.272,6.82),(23.424,6.276),(23.564,5.73),(23.72,5.042),(23.856,4.35),(23.952,3.794),(24.052,3.096),(24.132,2.394),(24.17,1.972),(24.224,1.128),(24.244,0.564),(24.25,-0.142),(24.23,-0.988),(24.2,-1.55),(24.158,-2.114),(24.102,-2.676),(24.014,-3.374),(23.906,-4.072),(23.804,-4.628),(23.66,-5.318),(23.564,-5.73),(23.46,-6.14),(23.272,-6.82),(23.106,-7.36),(22.974,-7.762),(22.788,-8.294),(22.64,-8.69),(22.484,-9.084),(22.154,-9.864)])

grating_concentric_arc_5 = lib.new_cell('grating_concentric_arc_504a2148')
P(grating_concentric_arc_5, L1_0, [(0,0.174),(0,-0.174),(10.962,-4.882),(11.006,-4.786),(11.24,-4.202),(11.476,-3.508),(11.644,-2.902),(11.78,-2.29),(11.868,-1.774),(11.954,-1.046),(11.99,-0.524),(12,0.104),(11.99,0.524),(11.934,1.254),(11.836,1.98),(11.738,2.496),(11.564,3.206),(11.38,3.808),(11.126,4.496),(10.962,4.882)])
grating_concentric_arc_5.add(gdstk.Reference(straight_3aa2beef, (-10,0)))
grating_concentric_arc_5.add(gdstk.Reference(ring_6953cfcb_transform_, (0,0)))
grating_concentric_arc_5.add(gdstk.Reference(ring_9422eaae_transform_, (0,0)))
grating_concentric_arc_5.add(gdstk.Reference(ring_9049fbea_transform_, (0,0)))
grating_concentric_arc_5.add(gdstk.Reference(ring_10f3b8c3_transform_, (0,0)))
grating_concentric_arc_5.add(gdstk.Reference(ring_108499d5_transform_, (0,0)))
grating_concentric_arc_5.add(gdstk.Reference(ring_e48c460f_transform_, (0,0)))
grating_concentric_arc_5.add(gdstk.Reference(ring_d2db16e5_transform_, (0,0)))
grating_concentric_arc_5.add(gdstk.Reference(ring_d92fad2c_transform_, (0,0)))
grating_concentric_arc_5.add(gdstk.Reference(ring_c6a823f2_transform_, (0,0)))
grating_concentric_arc_5.add(gdstk.Reference(ring_ff4eb2f2_transform_, (0,0)))
grating_concentric_arc_5.add(gdstk.Reference(ring_7f2c7f43_transform_, (0,0)))
grating_concentric_arc_5.add(gdstk.Reference(ring_7084ca4e_transform_, (0,0)))
grating_concentric_arc_5.add(gdstk.Reference(ring_89918972_transform_, (0,0)))
grating_concentric_arc_5.add(gdstk.Reference(ring_e80e56b2_transform_, (0,0)))
grating_concentric_arc_5.add(gdstk.Reference(ring_321dfc1c_transform_, (0,0)))
grating_concentric_arc_5.add(gdstk.Reference(ring_e9e801ea_transform_, (0,0)))
grating_concentric_arc_5.add(gdstk.Reference(ring_fa41a8f5_transform_, (0,0)))
grating_concentric_arc_5.add(gdstk.Reference(ring_5dd9466e_transform_, (0,0)))
grating_concentric_arc_5.add(gdstk.Reference(ring_66498925_transform_, (0,0)))
grating_concentric_arc_5.add(gdstk.Reference(ring_fd512b4f_transform_, (0,0)))
grating_concentric_arc_5.add(gdstk.Reference(ring_4e32d0f4_transform_, (0,0)))
grating_concentric_arc_5.add(gdstk.Reference(ring_c16440bc_transform_, (0,0)))
grating_concentric_arc_5.add(gdstk.Reference(ring_cf99d2fc_transform_, (0,0)))
grating_concentric_arc_5.add(gdstk.Reference(ring_c75a938b_transform_, (0,0)))
grating_concentric_arc_5.add(gdstk.Reference(ring_8dae4848_transform_, (0,0)))
grating_concentric_arc_5.add(gdstk.Reference(ring_68513522_transform_, (0,0)))
grating_concentric_arc_5.add(gdstk.Reference(ring_146a01e3_transform_, (0,0)))
grating_concentric_arc_5.add(gdstk.Reference(ring_ec5ba4e5_transform_, (0,0)))
grating_concentric_arc_5.add(gdstk.Reference(ring_49f4c272_transform_, (0,0)))
grating_concentric_arc_5.add(gdstk.Reference(ring_e0d085d4_transform_, (0,0)))
grating_concentric_arc_5.add(gdstk.Reference(ring_7efba266_transform_, (0,0)))
grating_concentric_arc_5.add(gdstk.Reference(ring_c6a7e577_transform_, (0,0)))
grating_concentric_arc_5.add(gdstk.Reference(ring_882cabd0_transform_, (0,0)))
grating_concentric_arc_5.add(gdstk.Reference(ring_49a5cea8_transform_, (0,0)))
grating_concentric_arc_5.add(gdstk.Reference(ring_4e4042a5_transform_, (0,0)))
grating_concentric_arc_5.add(gdstk.Reference(ring_79a09810_transform_, (0,0)))

lib.write_gds('grating_concentric_arc_504a2148.gds')
